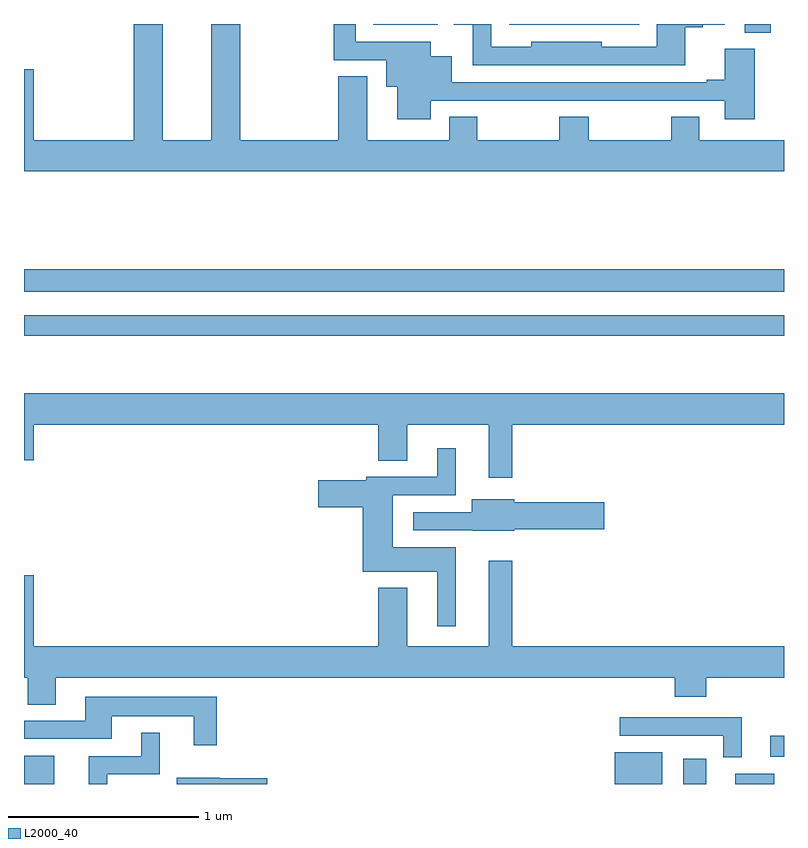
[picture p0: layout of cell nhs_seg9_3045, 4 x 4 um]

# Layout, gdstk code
import gdstk
lib = gdstk.Library(unit=1e-6, precision=1e-09)
def R(c, l, rs):  # rectangles x0, y0, x1, y1
    for r in rs: c.add(gdstk.rectangle(r[:2], r[2:], *l))
def P(c, l, *ps):  # polygons
    for p in ps: c.add(gdstk.Polygon(p, *l))
L2000_40 = (2000, 40)

nhs_seg9_3045 = lib.new_cell('nhs_seg9_3045')
R(nhs_seg9_3045, L2000_40, [(285,1222.5,285.16,1222.648), (288.11,1222.5,288.358,1222.666), (288.47,1222.5,288.592,1222.633), (288.743,1222.5,288.949,1222.555), (288.927,1222.644,289,1222.753), (285,1224.858,289,1224.966), (285,1225.092,289,1225.208), (288.794,1226.455,288.929,1226.5), (286.839,1226.496,287.178,1226.5), (287.553,1226.496,288.237,1226.5)])
P(nhs_seg9_3045, L2000_40, [(287.14,1226.097),(287.473,1226.097),(287.473,1226.096),(287.729,1226.096),(287.729,1226.097),(288.061,1226.097),(288.061,1226.096),(288.317,1226.096),(288.317,1226.097),(288.689,1226.097),(288.689,1226),(288.847,1226),(288.847,1226.37),(288.689,1226.37),(288.689,1226.206),(288.593,1226.206),(288.593,1226.193),(287.251,1226.193),(287.251,1226.329),(287.14,1226.329),(287.14,1226.406),(286.746,1226.406),(286.746,1226.5),(286.63,1226.5),(286.63,1226.31),(286.907,1226.31),(286.907,1226.171),(286.964,1226.171),(286.964,1226),(287.14,1226)],
  [(288.48,1226.484),(288.572,1226.484),(288.572,1226.496),(288.688,1226.496),(288.688,1226.5),(288.329,1226.5),(288.329,1226.379),(288.042,1226.379),(288.042,1226.407),(287.67,1226.407),(287.67,1226.379),(287.46,1226.379),(287.46,1226.5),(287.263,1226.5),(287.263,1226.495),(287.363,1226.495),(287.363,1226.283),(288.48,1226.283)],
  [(289,1225.888),(288.553,1225.888),(288.553,1226.012),(288.406,1226.012),(288.406,1225.888),(287.973,1225.888),(287.973,1226.012),(287.818,1226.012),(287.818,1225.888),(287.385,1225.888),(287.385,1226.012),(287.237,1226.012),(287.237,1225.888),(286.807,1225.888),(286.807,1226.225),(286.655,1226.225),(286.655,1225.888),(286.139,1225.888),(286.139,1226.5),(285.986,1226.5),(285.986,1225.888),(285.73,1225.888),(285.73,1226.5),(285.578,1226.5),(285.578,1225.888),(285.052,1225.888),(285.052,1226.263),(285,1226.263),(285,1225.724),(289,1225.724)],
  [(287.569,1224.392),(289,1224.392),(289,1224.556),(285,1224.556),(285,1224.204),(285.052,1224.204),(285.052,1224.392),(286.865,1224.392),(286.865,1224.202),(287.017,1224.202),(287.017,1224.392),(287.447,1224.392),(287.447,1224.111),(287.569,1224.111)],
  [(287.272,1223.746),(286.942,1223.746),(286.942,1224.021),(287.272,1224.021),(287.272,1224.268),(287.174,1224.268),(287.174,1224.117),(286.8,1224.117),(286.8,1224.099),(286.548,1224.099),(286.548,1223.957),(286.784,1223.957),(286.784,1223.618),(287.174,1223.618),(287.174,1223.331),(287.272,1223.331)],
  [(287.58,1223.84),(288.055,1223.84),(288.055,1223.982),(287.58,1223.982),(287.58,1223.998),(287.357,1223.998),(287.357,1223.931),(287.049,1223.931),(287.049,1223.835),(287.361,1223.835),(287.361,1223.834),(287.58,1223.834)],
  [(285.166,1223.06),(288.425,1223.06),(288.425,1222.958),(288.59,1222.958),(288.59,1223.06),(289,1223.06),(289,1223.224),(287.569,1223.224),(287.569,1223.674),(287.447,1223.674),(287.447,1223.224),(287.017,1223.224),(287.017,1223.533),(286.865,1223.533),(286.865,1223.224),(285.052,1223.224),(285.052,1223.599),(285,1223.599),(285,1223.06),(285.019,1223.06),(285.019,1222.918),(285.166,1222.918)],
  [(286.015,1222.96),(285.323,1222.96),(285.323,1222.833),(285,1222.833),(285,1222.737),(285.463,1222.737),(285.463,1222.856),(285.893,1222.856),(285.893,1222.704),(286.015,1222.704)],
  [(288.778,1222.851),(288.135,1222.851),(288.135,1222.755),(288.681,1222.755),(288.681,1222.64),(288.778,1222.64)],
  [(285.438,1222.551),(285.715,1222.551),(285.715,1222.771),(285.617,1222.771),(285.617,1222.647),(285.341,1222.647),(285.341,1222.5),(285.438,1222.5)],
  [(286.279,1222.529),(286.029,1222.529),(286.029,1222.534),(285.803,1222.534),(285.803,1222.5),(286.279,1222.5)])

lib.write_gds('nhs_seg9_3045.gds')
